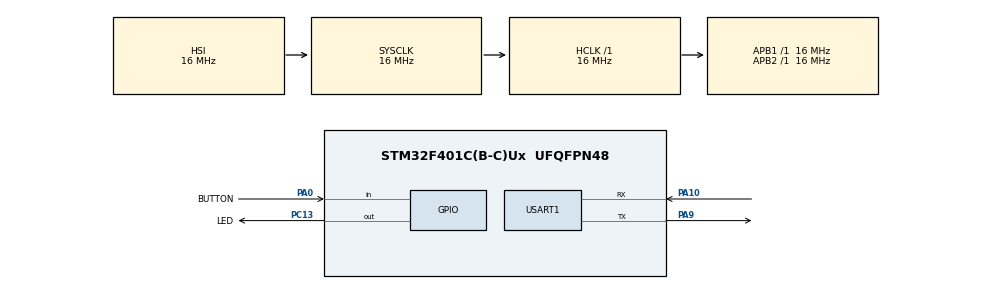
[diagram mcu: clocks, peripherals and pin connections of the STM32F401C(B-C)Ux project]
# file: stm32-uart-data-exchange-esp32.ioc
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Mcu.Family=STM32F4
Mcu.Name=STM32F401C(B-C)Ux
Mcu.Package=UFQFPN48
NVIC.PriorityGroup=NVIC_PRIORITYGROUP_4
NVIC.USART1_IRQn=true\:0\:0\:false\:false\:true\:true\:true\:true
PA0-WKUP.GPIO_Label=BUTTON
PA0-WKUP.GPIO_PuPd=GPIO_PULLUP
PA0-WKUP.Signal=GPIO_Input
PA10.Mode=Asynchronous
PA10.Signal=USART1_RX
PA9.Mode=Asynchronous
PA9.Signal=USART1_TX
PC13-ANTI_TAMP.GPIO_Label=LED
PC13-ANTI_TAMP.Signal=GPIO_Output
ProjectManager.HeapSize=0x200
ProjectManager.StackSize=0x400
ProjectManager.TargetToolchain=STM32CubeIDE
RCC.AHBFreq_Value=16000000
RCC.APB1Freq_Value=16000000
RCC.APB2Freq_Value=16000000
RCC.CortexFreq_Value=16000000
RCC.HSE_VALUE=25000000
RCC.HSI_VALUE=16000000
RCC.LSE_VALUE=32768
RCC.SYSCLKFreq_VALUE=16000000
RCC.VCOOutputFreq_Value=192000000
USART1.VirtualMode=VM_ASYNC
board=custom

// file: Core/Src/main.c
/* USER CODE BEGIN Header */
/**
  ******************************************************************************
  * @file           : main.c
  * @brief          : Main program body
  ******************************************************************************
  * @attention
  *
  * Copyright (c) 2026 STMicroelectronics.
  * All rights reserved.
  *
  * This software is licensed under terms that can be found in the LICENSE file
  * in the root directory of this software component.
  * If no LICENSE file comes with this software, it is provided AS-IS.
  *
  ******************************************************************************
  */
/* USER CODE END Header */
#include "main.h"

UART_HandleTypeDef huart1;

/* USER CODE BEGIN PV */
uint8_t rx_byte;

uint8_t tx_byte = 'T';

GPIO_PinState button_state = GPIO_PIN_SET;
GPIO_PinState last_button_state = GPIO_PIN_SET;

uint32_t last_debounce_time = 0;

#define DEBOUNCE_TIME 50
/* USER CODE END PV */

void SystemClock_Config(void);
static void MX_GPIO_Init(void);
static void MX_USART1_UART_Init(void);

int main(void)
{

  /* MCU Configuration--------------------------------------------------------*/

  /* Reset of all peripherals, Initializes the Flash interface and the Systick. */
  HAL_Init();

  /* Configure the system clock */
  SystemClock_Config();

  /* Initialize all configured peripherals */
  MX_GPIO_Init();
  MX_USART1_UART_Init();
  HAL_UART_Receive_IT(&huart1, &rx_byte, 1);

  /* Infinite loop */
  /* USER CODE BEGIN WHILE */
  while (1)
  {
	  GPIO_PinState reading =
	          HAL_GPIO_ReadPin(
	              BUTTON_GPIO_Port,
	              BUTTON_Pin
	          );

	      if (reading != last_button_state)
	      {
	          last_debounce_time = HAL_GetTick();
	      }

	      if ((HAL_GetTick() - last_debounce_time) >= DEBOUNCE_TIME)
	      {
	          if (reading != button_state)
	          {
	              button_state = reading;

	              if (button_state == GPIO_PIN_RESET)
	              {
	                  HAL_UART_Transmit(
	                      &huart1,
	                      &tx_byte,
	                      1,
	                      100
	                  );
	              }
	          }
	      }

	      last_button_state = reading;

	      HAL_Delay(5);
    /* USER CODE END WHILE */

  }
}

void SystemClock_Config(void)
{
  RCC_OscInitTypeDef RCC_OscInitStruct = {0};
  RCC_ClkInitTypeDef RCC_ClkInitStruct = {0};

  /** Configure the main internal regulator output voltage
  */
  __HAL_RCC_PWR_CLK_ENABLE();
  __HAL_PWR_VOLTAGESCALING_CONFIG(PWR_REGULATOR_VOLTAGE_SCALE2);

  /** Initializes the RCC Oscillators according to the specified parameters
  * in the RCC_OscInitTypeDef structure.
  */
  RCC_OscInitStruct.OscillatorType = RCC_OSCILLATORTYPE_HSI;
  RCC_OscInitStruct.HSIState = RCC_HSI_ON;
  RCC_OscInitStruct.HSICalibrationValue = RCC_HSICALIBRATION_DEFAULT;
  RCC_OscInitStruct.PLL.PLLState = RCC_PLL_NONE;
  if (HAL_RCC_OscConfig(&RCC_OscInitStruct) != HAL_OK)
  {
    Error_Handler();
  }

  /** Initializes the CPU, AHB and APB buses clocks
  */
  RCC_ClkInitStruct.ClockType = RCC_CLOCKTYPE_HCLK|RCC_CLOCKTYPE_SYSCLK
                              |RCC_CLOCKTYPE_PCLK1|RCC_CLOCKTYPE_PCLK2;
  RCC_ClkInitStruct.SYSCLKSource = RCC_SYSCLKSOURCE_HSI;
  RCC_ClkInitStruct.AHBCLKDivider = RCC_SYSCLK_DIV1;
  RCC_ClkInitStruct.APB1CLKDivider = RCC_HCLK_DIV1;
  RCC_ClkInitStruct.APB2CLKDivider = RCC_HCLK_DIV1;

  if (HAL_RCC_ClockConfig(&RCC_ClkInitStruct, FLASH_LATENCY_0) != HAL_OK)
  {
    Error_Handler();
  }
}

static void MX_USART1_UART_Init(void)
{

  huart1.Instance = USART1;
  huart1.Init.BaudRate = 115200;
  huart1.Init.WordLength = UART_WORDLENGTH_8B;
  huart1.Init.StopBits = UART_STOPBITS_1;
  huart1.Init.Parity = UART_PARITY_NONE;
  huart1.Init.Mode = UART_MODE_TX_RX;
  huart1.Init.HwFlowCtl = UART_HWCONTROL_NONE;
  huart1.Init.OverSampling = UART_OVERSAMPLING_16;
  if (HAL_UART_Init(&huart1) != HAL_OK)
  {
    Error_Handler();
  }

}

static void MX_GPIO_Init(void)
{
  GPIO_InitTypeDef GPIO_InitStruct = {0};

  /* GPIO Ports Clock Enable */
  __HAL_RCC_GPIOC_CLK_ENABLE();
  __HAL_RCC_GPIOA_CLK_ENABLE();

  /*Configure GPIO pin Output Level */
  HAL_GPIO_WritePin(LED_GPIO_Port, LED_Pin, GPIO_PIN_RESET);

  /*Configure GPIO pin : LED_Pin */
  GPIO_InitStruct.Pin = LED_Pin;
  GPIO_InitStruct.Mode = GPIO_MODE_OUTPUT_PP;
  GPIO_InitStruct.Pull = GPIO_NOPULL;
  GPIO_InitStruct.Speed = GPIO_SPEED_FREQ_LOW;
  HAL_GPIO_Init(LED_GPIO_Port, &GPIO_InitStruct);

  /*Configure GPIO pin : BUTTON_Pin */
  GPIO_InitStruct.Pin = BUTTON_Pin;
  GPIO_InitStruct.Mode = GPIO_MODE_INPUT;
  GPIO_InitStruct.Pull = GPIO_PULLUP;
  HAL_GPIO_Init(BUTTON_GPIO_Port, &GPIO_InitStruct);

}

/* USER CODE BEGIN 4 */
void HAL_UART_RxCpltCallback(UART_HandleTypeDef *huart)
{
    if (huart->Instance == USART1) {
        if (rx_byte == 'T') {
            HAL_GPIO_TogglePin(LED_GPIO_Port, LED_Pin);
        }

        HAL_UART_Receive_IT(&huart1, &rx_byte, 1);
    }
}
/* USER CODE END 4 */

void Error_Handler(void)
{
  __disable_irq();
  while (1)
  {
  }
}
